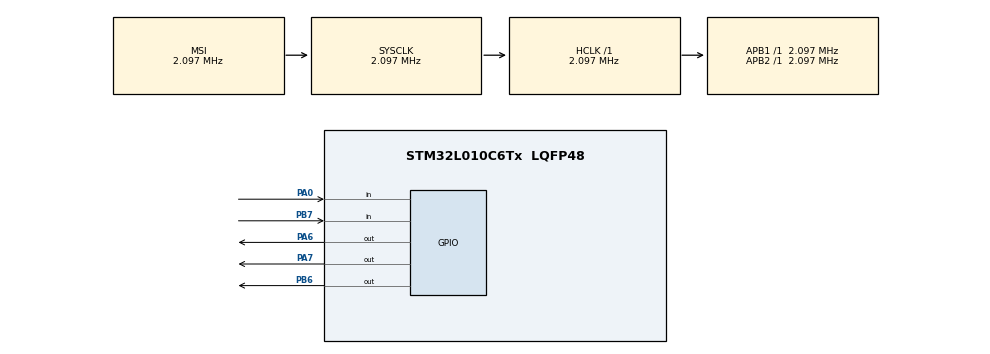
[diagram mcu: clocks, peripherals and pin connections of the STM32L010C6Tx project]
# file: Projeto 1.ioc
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Mcu.Family=STM32L0
Mcu.Name=STM32L010C6Tx
Mcu.Package=LQFP48
PA0.Signal=GPIO_Input
PA6.Signal=GPIO_Output
PA7.Signal=GPIO_Output
PB6.Signal=GPIO_Output
PB7.Signal=GPIO_Input
ProjectManager.HeapSize=0x200
ProjectManager.StackSize=0x400
ProjectManager.TargetToolchain=STM32CubeIDE
RCC.AHBFreq_Value=2097000
RCC.APB1Freq_Value=2097000
RCC.APB1TimFreq_Value=2097000
RCC.APB2Freq_Value=2097000
RCC.APB2TimFreq_Value=2097000
RCC.HSE_VALUE=8000000
RCC.HSI16_VALUE=16000000
RCC.HSI_VALUE=16000000
RCC.LSE_VALUE=32768
RCC.MSI_VALUE=2097000
RCC.SYSCLKFreq_VALUE=2097000
RCC.VCOOutputFreq_Value=48000000
board=custom

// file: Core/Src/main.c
/* USER CODE BEGIN Header */
/**
  ******************************************************************************
  * @file           : main.c
  * @brief          : Main program body
  ******************************************************************************
  * @attention
  *
  * Copyright (c) 2022 STMicroelectronics.
  * All rights reserved.
  *
  * This software is licensed under terms that can be found in the LICENSE file
  * in the root directory of this software component.
  * If no LICENSE file comes with this software, it is provided AS-IS.
  *
  ******************************************************************************
  */
/* USER CODE END Header */
#include "main.h"

void SystemClock_Config(void);
static void MX_GPIO_Init(void);

int main(void)
{

  /* MCU Configuration--------------------------------------------------------*/

  /* Reset of all peripherals, Initializes the Flash interface and the Systick. */
  HAL_Init();

  /* Configure the system clock */
  SystemClock_Config();

  /* Initialize all configured peripherals */
  MX_GPIO_Init();
  /* USER CODE BEGIN 2 */
#define SENSOR_GPIO_Port GPIOA
#define SENSOR_GPIO_Pin GPIO_PIN_0

#define SENSOR2_GPIO_Port GPIOA
#define SENSOR2_GPIO_Pin GPIO_PIN_0

#define CANCELA_GPIO_Port GPIOA
#define CANCELA_GPIO_Pin GPIO_PIN_6

#define BUTTON_GPIO_Port GPIOA
#define BUTTON_GPIO_Pin GPIO_PIN_6

#define LEITOR_GPIO_Port GPIOB
#define LEITOR_GPIO_Pin GPIO_PIN_7

#define LIBERADO 0
#define OCUPADO 1

  char relogio[20] = "RELOGIO :";
  char num[20];
  char audio[20] = "ENTRADA LIBERADA";
  int andar1[500];
  int andar2[500];
  int andar3[500];
  int andar4[500];

  /* USER CODE END 2 */

  /* Infinite loop */
  /* USER CODE BEGIN WHILE */
  while (1)
  {
	  int cont = 0;
	  display_mostra_segundos(relogio);
	  sprintf(num,"%u",HAL_GetTick());

	  if(HAL_GPIO_IN(SENSOR_GPIO_Port,SENSOR_GPIO_Pin)){
		  HAL_GPIO_OUT(CANCELA_GPIO_Port,CANCELA_GPIO_Pin,0);
		  HALL_Delay(500);
	  }

	  if(HAL_GPIO_IN(BUTTON_GPIO_Port,BUTTON_GPIO_Pin,1)){
		  cont++;
		  notificar_por_audio(audio);
		  imprimir_ticket();
	  	  HAL_Delay(100);
		  HAL_GPIO_OUT(CANCELA_GPIO_Port,CANCELA_GPIO_Pin,1);
		  if(cont > 500){
			  cont = cont-500;
		  }
	  }

	  if(HAL_GPIO_IN(LEITOR_GPIO_Port,LEITOR_GPIO_PIN,1)){
		  notificar_por_audio(audio);
		  HAL_GPIO_OUT(CANCELA_GPIO_Port,CANCELA_GPIO_Pin,1);
	  }
	  if(HAL_GPIO_IN(SENSOR2_GPIO_Port,SENSOR2_GPIO_Pin,1)){
		  if(andar1[cont]== LIBERADO){
			  andar1[cont]= OCUPADO;
		  }
		  if(andar2[cont]== LIBERADO){
			  andar2[cont]= OCUPADO;
		  }
		  if(andar3[cont]== LIBERADO){
			  andar3[cont]= OCUPADO;
		  }
		  if(andar4[cont]== LIBERADO){
			  andar4[cont]= OCUPADO;
		  }
	  }
	  if(HAL_GPIO_IN(SENSOR2_GPIO_Port,SENSOR2_GPIO_Pin,0)){
		  if(andar1[cont]== OCUPADO){
			  andar1[cont]= LIBERADO;
		  }
		  if(andar2[cont]== OCUPADO){
			  andar2[cont]= LIBERADO;
		  }
		  if(andar3[cont]== OCUPADO){
			  andar3[cont]= LIBERADO;
		  }
		  if(andar4[cont]== OCUPADO){
			  andar4[cont]= LIBERADO;
		  }
	  }

  }
    /* USER CODE END WHILE */

}

void SystemClock_Config(void)
{
  RCC_OscInitTypeDef RCC_OscInitStruct = {0};
  RCC_ClkInitTypeDef RCC_ClkInitStruct = {0};

  /** Configure the main internal regulator output voltage
  */
  __HAL_PWR_VOLTAGESCALING_CONFIG(PWR_REGULATOR_VOLTAGE_SCALE1);

  /** Initializes the RCC Oscillators according to the specified parameters
  * in the RCC_OscInitTypeDef structure.
  */
  RCC_OscInitStruct.OscillatorType = RCC_OSCILLATORTYPE_MSI;
  RCC_OscInitStruct.MSIState = RCC_MSI_ON;
  RCC_OscInitStruct.MSICalibrationValue = 0;
  RCC_OscInitStruct.MSIClockRange = RCC_MSIRANGE_5;
  RCC_OscInitStruct.PLL.PLLState = RCC_PLL_NONE;
  if (HAL_RCC_OscConfig(&RCC_OscInitStruct) != HAL_OK)
  {
    Error_Handler();
  }

  /** Initializes the CPU, AHB and APB buses clocks
  */
  RCC_ClkInitStruct.ClockType = RCC_CLOCKTYPE_HCLK|RCC_CLOCKTYPE_SYSCLK
                              |RCC_CLOCKTYPE_PCLK1|RCC_CLOCKTYPE_PCLK2;
  RCC_ClkInitStruct.SYSCLKSource = RCC_SYSCLKSOURCE_MSI;
  RCC_ClkInitStruct.AHBCLKDivider = RCC_SYSCLK_DIV1;
  RCC_ClkInitStruct.APB1CLKDivider = RCC_HCLK_DIV1;
  RCC_ClkInitStruct.APB2CLKDivider = RCC_HCLK_DIV1;

  if (HAL_RCC_ClockConfig(&RCC_ClkInitStruct, FLASH_LATENCY_0) != HAL_OK)
  {
    Error_Handler();
  }
}

static void MX_GPIO_Init(void)
{
  GPIO_InitTypeDef GPIO_InitStruct = {0};

  /* GPIO Ports Clock Enable */
  __HAL_RCC_GPIOA_CLK_ENABLE();
  __HAL_RCC_GPIOB_CLK_ENABLE();

  /*Configure GPIO pin Output Level */
  HAL_GPIO_WritePin(GPIOA, GPIO_PIN_6|GPIO_PIN_7, GPIO_PIN_RESET);

  /*Configure GPIO pin Output Level */
  HAL_GPIO_WritePin(GPIOB, GPIO_PIN_6, GPIO_PIN_RESET);

  /*Configure GPIO pin : PA0 */
  GPIO_InitStruct.Pin = GPIO_PIN_0;
  GPIO_InitStruct.Mode = GPIO_MODE_INPUT;
  GPIO_InitStruct.Pull = GPIO_NOPULL;
  HAL_GPIO_Init(GPIOA, &GPIO_InitStruct);

  /*Configure GPIO pins : PA6 PA7 */
  GPIO_InitStruct.Pin = GPIO_PIN_6|GPIO_PIN_7;
  GPIO_InitStruct.Mode = GPIO_MODE_OUTPUT_PP;
  GPIO_InitStruct.Pull = GPIO_NOPULL;
  GPIO_InitStruct.Speed = GPIO_SPEED_FREQ_LOW;
  HAL_GPIO_Init(GPIOA, &GPIO_InitStruct);

  /*Configure GPIO pin : PB6 */
  GPIO_InitStruct.Pin = GPIO_PIN_6;
  GPIO_InitStruct.Mode = GPIO_MODE_OUTPUT_PP;
  GPIO_InitStruct.Pull = GPIO_NOPULL;
  GPIO_InitStruct.Speed = GPIO_SPEED_FREQ_LOW;
  HAL_GPIO_Init(GPIOB, &GPIO_InitStruct);

  /*Configure GPIO pin : PB7 */
  GPIO_InitStruct.Pin = GPIO_PIN_7;
  GPIO_InitStruct.Mode = GPIO_MODE_INPUT;
  GPIO_InitStruct.Pull = GPIO_NOPULL;
  HAL_GPIO_Init(GPIOB, &GPIO_InitStruct);

}

void Error_Handler(void)
{
  __disable_irq();
  while (1)
  {
  }
}
